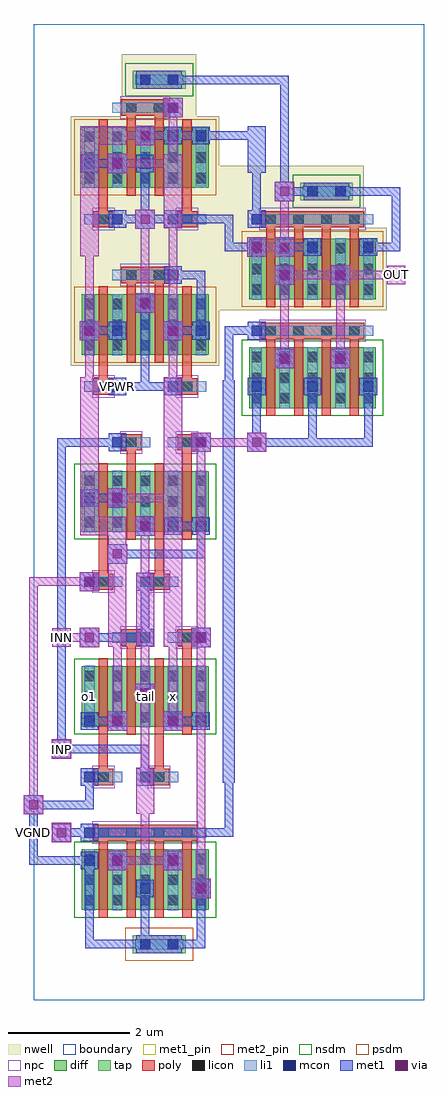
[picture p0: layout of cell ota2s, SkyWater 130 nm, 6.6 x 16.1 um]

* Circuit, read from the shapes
.subckt ota2s INN INP OUT VBN VGND VPWR o1 tail x
XM1 tail VBN VGND VGND sky130_fd_pr__nfet_01v8 w=1 l=0.15 m=4
XM2 o1 VGND o1 VGND sky130_fd_pr__nfet_01v8 w=1 l=0.15 m=2
XM3 x VGND x VGND sky130_fd_pr__nfet_01v8 w=1 l=0.15 m=2
XM4 tail INN o1 VGND sky130_fd_pr__nfet_01v8 w=1 l=0.15 m=2
XM5 tail INP x VGND sky130_fd_pr__nfet_01v8 w=1 l=0.15 m=2
XM6 OUT VBN VGND VGND sky130_fd_pr__nfet_01v8 w=1 l=0.15 m=4
XM7 o1 VPWR o1 VPWR sky130_fd_pr__pfet_01v8 w=1 l=0.15 m=2
XM8 x VPWR x VPWR sky130_fd_pr__pfet_01v8 w=1 l=0.15 m=2
XM9 VPWR x o1 VPWR sky130_fd_pr__pfet_01v8 w=1 l=0.15 m=2
XM10 VPWR x x VPWR sky130_fd_pr__pfet_01v8 w=1 l=0.15 m=2
XM11 OUT o1 VPWR VPWR sky130_fd_pr__pfet_01v8 w=1 l=0.15 m=4
.ends

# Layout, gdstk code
import gdstk
lib = gdstk.Library(unit=1e-6, precision=1e-09)
def R(c, l, rs):  # rectangles x0, y0, x1, y1
    for r in rs: c.add(gdstk.rectangle(r[:2], r[2:], *l))
def A(c, l, x, y, w, h, nx, ny, dx, dy):  # array of equal rectangles
    R(c, l, [(x+i*dx, y+j*dy, x+i*dx+w, y+j*dy+h) for i in range(nx) for j in range(ny)])
nwell = (64, 20)
diff = (65, 20)
tap = (65, 44)
poly = (66, 20)
licon = (66, 44)
li1 = (67, 20)
mcon = (67, 44)
met1_pin = (68, 16)
met1 = (68, 20)
via = (68, 44)
met2_pin = (69, 16)
met2 = (69, 20)
nsdm = (93, 44)
psdm = (94, 20)
npc = (95, 20)
boundary = (235, 4)

ota2s = lib.new_cell('ota2s')
R(ota2s, nwell, [(0.615,10.46,3.065,11.38), (0.615,11.38,5.825,12.74), (0.615,12.74,5.445,13.76), (0.615,13.76,3.065,14.58), (1.455,14.58,2.685,15.6)])
R(ota2s, diff, [(0.795,1.485,2.885,2.485), (0.795,4.505,2.885,5.505), (0.795,7.725,2.885,8.725), (3.555,9.765,5.645,10.765), (0.795,10.64,2.885,11.64), (3.555,11.56,5.645,12.56), (0.795,13.4,2.885,14.4)])
R(ota2s, tap, [(1.635,0.775,2.505,1.065), (4.395,13.195,5.265,13.485), (1.635,15.035,2.505,15.325)])
A(ota2s, poly, 1.075, 1.355, 0.15, 1.405, 4, 1, 0.46, 0)
A(ota2s, poly, 0.985, 3.545, 0.33, 0.27, 1, 3, 0, 3.22)
A(ota2s, poly, 3.835, 9.635, 0.15, 1.405, 4, 1, 0.46, 0)
A(ota2s, poly, 3.835, 11.43, 0.15, 1.45, 4, 1, 0.46, 0)
R(ota2s, poly, [(0.985,2.625,2.695,2.895), (1.905,3.545,2.235,3.815), (1.075,3.68,1.225,5.635), (1.995,3.68,2.145,5.635), (1.535,4.375,1.685,5.98), (2.455,4.375,2.605,5.98), (1.445,5.845,1.775,6.115), (2.365,5.845,2.695,6.115), (1.905,6.765,2.235,7.035), (1.075,6.9,1.225,8.855), (1.995,6.9,2.145,8.855), (1.535,7.595,1.685,9.2), (2.455,7.595,2.605,9.2), (1.445,9.065,1.775,9.335), (2.365,9.065,2.695,9.335), (2.365,9.985,2.695,10.255), (1.075,10.12,1.225,11.77), (2.455,10.12,2.605,11.77), (1.535,10.51,1.685,11.96), (1.995,10.51,2.145,11.96), (3.745,10.905,5.455,11.175), (1.445,11.825,2.235,12.095), (0.985,12.745,1.315,13.015), (2.365,12.745,2.695,13.015), (3.745,12.745,5.455,13.015), (1.075,12.88,1.225,14.53), (2.455,12.88,2.605,14.53), (1.535,13.27,1.685,14.72), (1.995,13.27,2.145,14.72), (1.445,14.585,2.235,14.855)])
A(ota2s, licon, 0.835, 1.56, 0.17, 0.17, 5, 3, 0.46, 0.34)
A(ota2s, licon, 1.065, 2.675, 0.17, 0.17, 4, 1, 0.46, 0)
A(ota2s, licon, 1.065, 3.595, 0.17, 0.17, 1, 3, 0, 3.22)
A(ota2s, licon, 0.835, 4.58, 0.17, 0.17, 5, 3, 0.46, 0.34)
A(ota2s, licon, 0.835, 7.8, 0.17, 0.17, 5, 3, 0.46, 0.34)
A(ota2s, licon, 1.525, 9.115, 0.17, 0.17, 1, 3, 0, 2.76)
A(ota2s, licon, 3.595, 9.84, 0.17, 0.17, 5, 3, 0.46, 0.34)
A(ota2s, licon, 0.835, 10.715, 0.17, 0.17, 5, 3, 0.46, 0.34)
A(ota2s, licon, 3.825, 10.955, 0.17, 0.17, 4, 1, 0.46, 0)
A(ota2s, licon, 3.595, 11.635, 0.17, 0.17, 5, 3, 0.46, 0.34)
A(ota2s, licon, 1.065, 12.795, 0.17, 0.17, 3, 1, 1.38, 0)
A(ota2s, licon, 4.285, 12.795, 0.17, 0.17, 3, 1, 0.46, 0)
A(ota2s, licon, 0.835, 13.475, 0.17, 0.17, 5, 3, 0.46, 0.34)
R(ota2s, licon, [(1.755,0.835,1.925,1.005), (2.215,0.835,2.385,1.005), (1.985,3.595,2.155,3.765), (1.525,5.895,1.695,6.065), (2.445,5.895,2.615,6.065), (1.985,6.815,2.155,6.985), (2.445,9.115,2.615,9.285), (2.445,10.035,2.615,10.205), (1.985,11.875,2.155,12.045), (4.515,13.255,4.685,13.425), (4.975,13.255,5.145,13.425), (1.985,14.635,2.155,14.805), (1.755,15.095,1.925,15.265), (2.215,15.095,2.385,15.265)])
A(ota2s, li1, 0.835, 1.48, 0.17, 1.01, 5, 2, 0.46, 3.02)
A(ota2s, li1, 0.835, 3.595, 0.63, 0.17, 1, 3, 0, 3.22)
A(ota2s, li1, 0.835, 7.72, 0.17, 1.01, 5, 2, 0.46, 2.915)
A(ota2s, li1, 3.595, 9.76, 0.17, 1.01, 5, 2, 0.46, 1.795)
A(ota2s, li1, 0.835, 13.395, 0.17, 1.01, 5, 1, 0.46, 0)
R(ota2s, li1, [(1.675,0.835,2.465,1.005), (0.835,2.675,2.845,2.845), (1.755,3.595,2.385,3.765), (1.295,5.895,1.925,6.065), (2.215,5.895,2.845,6.065), (1.755,6.815,2.385,6.985), (1.295,9.115,1.925,9.285), (2.215,9.115,2.845,9.285), (2.215,10.035,2.845,10.205), (3.595,10.955,5.605,11.125), (1.295,11.875,2.385,12.045), (0.835,12.795,1.465,12.965), (2.215,12.795,2.845,12.965), (3.595,12.795,5.605,12.965), (4.435,13.255,5.225,13.425), (1.295,14.635,2.385,14.805), (1.675,15.095,2.465,15.265)])
A(ota2s, mcon, 0.835, 2.675, 0.17, 0.17, 1, 3, 0, 0.92)
A(ota2s, mcon, 1.755, 4.975, 0.17, 0.17, 1, 3, 0, 0.92)
A(ota2s, mcon, 1.755, 7.735, 0.17, 0.17, 3, 1, 0.46, 0)
A(ota2s, mcon, 1.295, 8.195, 0.17, 0.17, 1, 4, 0, 0.92)
A(ota2s, mcon, 2.215, 10.035, 0.17, 0.17, 1, 4, 0, 0.92)
A(ota2s, mcon, 3.595, 10.035, 0.17, 0.17, 3, 2, 0.92, 2.3)
A(ota2s, mcon, 4.975, 10.495, 0.17, 0.17, 1, 3, 0, 1.38)
A(ota2s, mcon, 0.835, 13.715, 0.17, 0.17, 3, 1, 0.46, 0)
A(ota2s, mcon, 2.215, 14.175, 0.17, 0.17, 1, 3, 0, 0.46)
R(ota2s, mcon, [(1.755,0.835,1.925,1.005), (2.215,0.835,2.385,1.005), (1.755,1.755,1.925,1.925), (2.675,1.755,2.845,1.925), (0.835,2.215,1.005,2.385), (1.295,2.215,1.465,2.385), (2.215,2.215,2.385,2.385), (1.755,3.595,1.925,3.765), (1.295,4.515,1.465,4.685), (2.215,4.515,2.385,4.685), (2.675,4.515,2.845,4.685), (2.675,5.895,2.845,6.065), (0.835,6.815,1.005,6.985), (0.835,8.195,1.005,8.365), (2.675,9.115,2.845,9.285), (4.055,10.495,4.225,10.665), (0.835,10.955,1.005,11.125), (2.675,10.955,2.845,11.125), (3.595,10.955,3.765,11.125), (1.755,11.415,1.925,11.585), (4.055,11.875,4.225,12.045), (1.295,12.795,1.465,12.965), (3.595,12.795,3.765,12.965), (4.515,13.255,4.685,13.425), (2.675,14.175,2.845,14.345), (1.755,15.095,1.925,15.265)])
R(ota2s, met1_pin, [(-0.07,2.23,0.07,3.29), (1.235,9.975,1.525,10.265)])
A(ota2s, met1, 0.775, 2.615, 0.29, 0.29, 1, 3, 0, 0.92)
A(ota2s, met1, 2.23, 4.53, 0.6, 0.14, 1, 3, 0, 3.22)
A(ota2s, met1, 1.695, 4.915, 0.29, 0.29, 1, 3, 0, 0.92)
A(ota2s, met1, 1.695, 7.675, 0.29, 0.29, 3, 1, 0.46, 0)
A(ota2s, met1, 1.235, 8.135, 0.29, 0.29, 1, 4, 0, 0.92)
A(ota2s, met1, 0.85, 8.21, 0.6, 0.14, 1, 3, 0, 2.76)
A(ota2s, met1, 3.61, 9.13, 0.14, 1.06, 3, 1, 0.92, 0)
A(ota2s, met1, 2.155, 9.975, 0.29, 0.29, 1, 4, 0, 0.92)
A(ota2s, met1, 3.535, 9.975, 0.29, 0.29, 3, 2, 0.92, 2.3)
A(ota2s, met1, 1.68, 11.34, 0.32, 0.32, 1, 3, 0, 1.38)
A(ota2s, met1, 0.775, 13.655, 0.29, 0.29, 3, 1, 0.46, 0)
R(ota2s, met1, [(1.695,0.775,2.445,1.065), (0.85,0.85,1.91,0.99), (0.85,0.85,0.99,2.37), (1.77,0.85,2.83,0.99), (1.77,0.85,1.91,1.91), (1.77,0.85,1.91,0.99), (2.69,0.85,2.83,1.91), (2.6,1.68,2.92,2), (1.695,1.695,1.985,1.985), (2.615,1.695,2.905,1.985), (1.22,2.14,1.54,2.46), (2.14,2.14,2.46,2.46), (0.775,2.155,1.065,2.445), (1.235,2.155,1.525,2.445), (2.155,2.155,2.445,2.445), (-0.07,2.23,0.99,2.37), (-0.07,2.23,0.07,3.29), (0.3,2.6,0.62,2.92), (0.39,2.69,0.99,2.83), (0.85,2.69,3.29,2.83), (3.15,2.69,3.29,3.75), (-0.16,3.06,0.16,3.38), (-0.07,3.15,0.99,3.29), (0.85,3.15,0.99,3.75), (1.695,3.535,1.985,3.825), (3.12,3.58,3.32,10.22), (1.77,3.61,1.91,4.21), (0.3,3.98,0.62,4.3), (0.39,4.07,0.53,9.27), (0.39,4.07,1.91,4.21), (1.22,4.44,1.54,4.76), (2.14,4.44,2.46,4.76), (1.235,4.455,1.525,4.745), (2.155,4.455,2.445,4.745), (2.615,4.455,2.905,4.745), (0.85,4.53,1.45,4.67), (1.68,4.9,2,5.22), (0.76,5.82,1.08,6.14), (2.6,5.82,2.92,6.14), (2.615,5.835,2.905,6.125), (0.85,5.91,1.91,6.05), (1.77,5.91,1.91,6.97), (0.76,6.74,1.08,7.06), (0.775,6.755,1.065,7.045), (1.22,7.2,1.54,7.52), (1.31,7.29,2.83,7.43), (2.69,7.29,2.83,7.89), (1.68,7.66,2,7.98), (1.22,8.12,1.54,8.44), (0.775,8.135,1.065,8.425), (2.6,9.04,2.92,9.36), (3.52,9.04,3.84,9.36), (2.615,9.055,2.905,9.345), (0.39,9.13,1.45,9.27), (3.61,9.13,4.67,9.27), (4.53,9.13,5.59,9.27), (1.31,10.05,1.91,10.19), (1.77,10.05,2.37,10.19), (1.77,10.05,1.91,11.57), (3.15,10.05,3.29,11.11), (3.98,10.42,4.3,10.74), (4.9,10.42,5.22,10.74), (3.995,10.435,4.285,10.725), (4.915,10.435,5.205,10.725), (0.76,10.88,1.08,11.2), (2.14,10.88,2.46,11.2), (0.775,10.895,1.065,11.185), (2.615,10.895,2.905,11.185), (3.535,10.895,3.825,11.185), (2.69,10.97,2.83,12.03), (3.15,10.97,3.75,11.11), (1.695,11.355,1.985,11.645), (3.98,11.8,4.3,12.12), (4.9,11.8,5.22,12.12), (3.995,11.815,4.285,12.105), (4.915,11.815,5.205,12.105), (2.23,11.89,2.83,12.03), (3.52,12.26,3.84,12.58), (3.98,12.26,4.3,12.58), (3.15,12.35,3.75,12.49), (3.15,12.35,3.29,12.95), (4.07,12.35,4.67,12.49), (5.45,12.35,6.05,12.49), (5.91,12.35,6.05,13.41), (1.235,12.735,1.525,13.025), (3.535,12.735,3.825,13.025), (1.31,12.81,1.91,12.95), (1.77,12.81,1.91,13.87), (1.77,12.81,2.37,12.95), (2.23,12.81,3.29,12.95), (3.61,12.81,3.75,13.87), (3.98,13.18,4.3,13.5), (4.455,13.195,5.205,13.485), (4.07,13.27,4.67,13.41), (4.07,13.27,4.21,15.25), (4.53,13.27,4.67,13.41), (4.53,13.27,6.05,13.41), (1.22,13.64,1.54,13.96), (3.53,13.65,3.83,14.41), (2.155,14.115,2.445,14.405), (2.615,14.115,2.905,14.405), (1.77,14.19,2.37,14.33), (2.23,14.19,2.83,14.33), (2.69,14.19,3.75,14.33), (2.14,14.56,2.46,14.88), (2.155,14.575,2.445,14.865), (1.695,15.035,2.445,15.325), (2.23,15.11,4.21,15.25), (2.23,15.11,2.37,15.25)])
A(ota2s, via, 1.765, 11.425, 0.15, 0.15, 1, 3, 0, 1.38)
R(ota2s, via, [(2.685,1.765,2.835,1.915), (1.305,2.225,1.455,2.375), (2.225,2.225,2.375,2.375), (0.385,2.685,0.535,2.835), (-0.075,3.145,0.075,3.295), (0.385,4.065,0.535,4.215), (1.305,4.525,1.455,4.675), (2.225,4.525,2.375,4.675), (1.765,4.985,1.915,5.135), (0.845,5.905,0.995,6.055), (2.685,5.905,2.835,6.055), (0.845,6.825,0.995,6.975), (1.305,7.285,1.455,7.435), (1.765,7.745,1.915,7.895), (1.305,8.205,1.455,8.355), (2.685,9.125,2.835,9.275), (3.605,9.125,3.755,9.275), (4.065,10.505,4.215,10.655), (4.985,10.505,5.135,10.655), (0.845,10.965,0.995,11.115), (2.225,10.965,2.375,11.115), (4.065,11.885,4.215,12.035), (4.985,11.885,5.135,12.035), (3.605,12.345,3.755,12.495), (4.065,12.345,4.215,12.495), (4.065,13.265,4.215,13.415), (1.305,13.725,1.455,13.875), (2.225,14.645,2.375,14.795)])
R(ota2s, met2_pin, [(0.31,2.61,0.61,2.91), (0.31,3.99,0.61,4.29), (0.31,5.83,0.61,6.13), (5.83,11.81,6.13,12.11)])
A(ota2s, met2, 1.68, 11.34, 0.32, 0.32, 1, 3, 0, 1.38)
R(ota2s, met2, [(2.6,1.68,2.92,2), (2.69,1.77,2.83,6.05), (1.22,2.14,1.54,2.46), (2.14,2.14,2.46,2.46), (1.31,2.23,1.91,2.37), (1.77,2.23,2.37,2.37), (1.77,2.23,1.91,3.29), (0.3,2.6,0.62,2.92), (0.31,2.61,0.61,2.91), (0.39,2.69,0.53,2.83), (-0.16,3.06,0.16,3.38), (1.69,3.07,1.99,3.83), (-0.07,3.15,0.07,6.97), (1.77,3.61,1.91,5.13), (0.3,3.98,0.62,4.3), (0.31,3.99,0.61,4.29), (0.39,4.07,0.53,4.21), (1.22,4.44,1.54,4.76), (2.14,4.44,2.46,4.76), (1.31,4.53,1.45,6.05), (2.23,4.53,2.37,6.05), (1.68,4.9,2,5.22), (1.77,4.99,1.91,6.05), (0.76,5.82,1.08,6.14), (2.6,5.82,2.92,6.14), (0.31,5.83,0.61,6.13), (1.23,5.83,1.53,7.97), (1.69,5.83,1.99,7.05), (2.15,5.83,2.45,8.43), (0.39,5.91,0.53,6.05), (0.39,5.91,0.99,6.05), (2.69,5.91,2.83,9.27), (0.76,6.74,1.08,7.06), (-0.07,6.83,0.99,6.97), (1.77,6.83,1.91,7.89), (1.22,7.2,1.54,7.52), (1.68,7.66,2,7.98), (0.77,7.67,1.07,10.27), (0.77,7.67,1.53,7.97), (1.22,8.12,1.54,8.44), (2.15,8.13,2.45,10.27), (1.31,8.21,2.37,8.35), (2.6,9.04,2.92,9.36), (3.52,9.04,3.84,9.36), (2.69,9.13,3.75,9.27), (0.85,10.05,0.99,11.11), (2.23,10.05,2.37,11.11), (3.98,10.42,4.3,10.74), (4.9,10.42,5.22,10.74), (4.07,10.51,4.21,12.03), (4.99,10.51,5.13,12.03), (0.76,10.88,1.08,11.2), (2.14,10.88,2.46,11.2), (0.85,10.97,0.99,12.49), (2.23,10.97,2.37,12.95), (1.77,11.43,1.91,12.95), (3.98,11.8,4.3,12.12), (4.9,11.8,5.22,12.12), (5.83,11.81,6.13,12.11), (4.07,11.89,5.13,12.03), (4.99,11.89,6.05,12.03), (5.91,11.89,6.05,12.03), (3.52,12.26,3.84,12.58), (3.98,12.26,4.3,12.58), (0.77,12.27,1.07,14.41), (3.61,12.35,4.21,12.49), (4.07,12.35,4.21,13.41), (2.15,12.73,2.45,13.95), (3.98,13.18,4.3,13.5), (1.22,13.64,1.54,13.96), (1.31,13.73,2.37,13.87), (2.23,13.73,2.37,14.79), (0.77,14.11,1.53,14.41), (1.31,14.19,1.91,14.33), (2.14,14.56,2.46,14.88)])
R(ota2s, nsdm, [(0.67,1.36,3.01,2.61), (0.67,4.38,3.01,5.63), (0.67,7.6,3.01,8.85), (3.43,9.64,5.77,10.89), (4.27,13.07,5.39,13.61), (1.51,14.91,2.63,15.45)])
R(ota2s, psdm, [(1.51,0.65,2.63,1.19), (0.67,10.515,3.01,11.765), (3.43,11.435,5.77,12.685), (0.67,13.275,3.01,14.525)])
A(ota2s, npc, 0.965, 3.495, 0.37, 0.37, 1, 3, 0, 3.22)
R(ota2s, npc, [(0.965,2.575,2.715,2.945), (1.885,3.495,2.255,3.865), (1.425,5.795,1.795,6.165), (2.345,5.795,2.715,6.165), (1.885,6.715,2.255,7.085), (1.425,9.015,1.795,9.385), (2.345,9.015,2.715,9.385), (2.345,9.935,2.715,10.305), (3.725,10.855,5.475,11.225), (1.425,11.775,2.255,12.145), (0.965,12.695,1.335,13.065), (2.345,12.695,2.715,13.065), (3.725,12.695,5.475,13.065), (1.425,14.535,2.255,14.905)])
R(ota2s, boundary, [(0,0,6.44,16.1)])
ota2s.add(gdstk.Label('o1', (0.92,5.005), layer=67, texttype=5))
ota2s.add(gdstk.Label('tail', (1.84,5.005), layer=67, texttype=5))
ota2s.add(gdstk.Label('x', (2.3,5.005), layer=67, texttype=5))
ota2s.add(gdstk.Label('VPWR', (1.38,10.12), layer=68, texttype=5))
ota2s.add(gdstk.Label('VGND', (0,2.76), layer=68, texttype=5))
ota2s.add(gdstk.Label('INP', (0.46,4.14), layer=69, texttype=5))
ota2s.add(gdstk.Label('INN', (0.46,5.98), layer=69, texttype=5))
ota2s.add(gdstk.Label('VBN', (0.46,2.76), layer=69, texttype=5))
ota2s.add(gdstk.Label('OUT', (5.98,11.96), layer=69, texttype=5))
ota2s.add(gdstk.Label('VPWR', (1.38,10.12), layer=68, texttype=16))
ota2s.add(gdstk.Label('VGND', (0,2.76), layer=68, texttype=16))
ota2s.add(gdstk.Label('INP', (0.46,4.14), layer=69, texttype=16))
ota2s.add(gdstk.Label('INN', (0.46,5.98), layer=69, texttype=16))
ota2s.add(gdstk.Label('VBN', (0.46,2.76), layer=69, texttype=16))
ota2s.add(gdstk.Label('OUT', (5.98,11.96), layer=69, texttype=16))

lib.write_gds('ota2s.gds')
